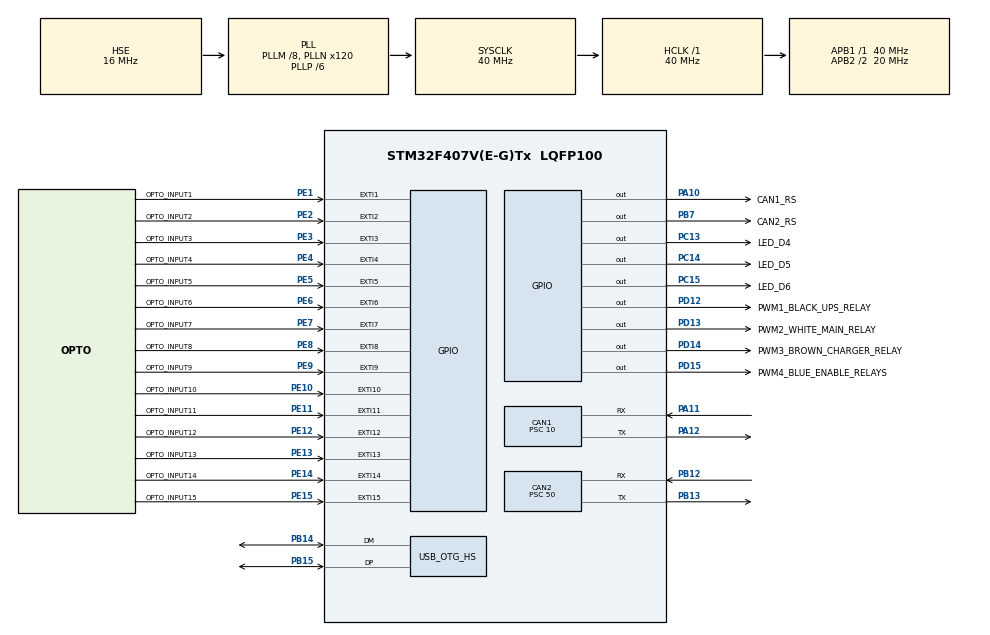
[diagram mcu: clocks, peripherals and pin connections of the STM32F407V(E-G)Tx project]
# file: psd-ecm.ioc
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CAN1.BS1=CAN_BS1_13TQ
CAN1.BS2=CAN_BS2_2TQ
CAN1.CalculateTimeQuantum=250.0
CAN1.Prescaler=10
CAN2.BS1=CAN_BS1_13TQ
CAN2.BS2=CAN_BS2_2TQ
CAN2.CalculateTimeQuantum=1250.0
CAN2.Mode=CAN_MODE_NORMAL
CAN2.Prescaler=50
Mcu.Family=STM32F4
Mcu.Name=STM32F407V(E-G)Tx
Mcu.Package=LQFP100
NVIC.CAN1_RX0_IRQn=true\:3\:0\:true\:false\:true\:true\:true
NVIC.CAN1_RX1_IRQn=true\:3\:0\:true\:false\:true\:true\:true
NVIC.CAN1_TX_IRQn=true\:0\:0\:true\:false\:true\:true\:true
NVIC.CAN2_RX0_IRQn=true\:0\:0\:false\:false\:true\:true\:true
NVIC.CAN2_RX1_IRQn=true\:0\:0\:false\:false\:true\:true\:true
NVIC.CAN2_TX_IRQn=true\:2\:0\:true\:false\:true\:true\:true
NVIC.EXTI15_10_IRQn=true\:2\:0\:true\:false\:true\:true\:true
NVIC.EXTI1_IRQn=true\:2\:0\:true\:false\:true\:true\:true
NVIC.EXTI2_IRQn=true\:2\:0\:true\:false\:true\:true\:true
NVIC.EXTI3_IRQn=true\:2\:0\:true\:false\:true\:true\:true
NVIC.EXTI4_IRQn=true\:2\:0\:true\:false\:true\:true\:true
NVIC.EXTI9_5_IRQn=true\:2\:0\:true\:false\:true\:true\:true
NVIC.OTG_HS_IRQn=true\:0\:0\:false\:false\:true\:false\:true
NVIC.PriorityGroup=NVIC_PRIORITYGROUP_4
NVIC.TIM1_UP_TIM10_IRQn=true\:1\:0\:true\:false\:true\:true\:true
PA10.GPIO_Label=CAN1_RS
PA10.GPIO_PuPd=GPIO_PULLDOWN
PA10.Signal=GPIO_Output
PA11.Mode=Master
PA11.Signal=CAN1_RX
PA12.Mode=Master
PA12.Signal=CAN1_TX
PA13.Mode=Serial_Wire
PA13.Signal=SYS_JTMS-SWDIO
PA14.Mode=Serial_Wire
PA14.Signal=SYS_JTCK-SWCLK
PB12.Mode=Slave
PB12.Signal=CAN2_RX
PB13.Mode=Slave
PB13.Signal=CAN2_TX
PB14.Mode=Device_Only_FS
PB14.Signal=USB_OTG_HS_DM
PB15.Mode=Device_Only_FS
PB15.Signal=USB_OTG_HS_DP
PB7.GPIO_Label=CAN2_RS
PB7.GPIO_PuPd=GPIO_PULLDOWN
PB7.Signal=GPIO_Output
PC13-ANTI_TAMP.GPIO_Label=LED_D4
PC13-ANTI_TAMP.Signal=GPIO_Output
PC14-OSC32_IN.GPIO_Label=LED_D5
PC14-OSC32_IN.Signal=GPIO_Output
PC15-OSC32_OUT.GPIO_Label=LED_D6
PC15-OSC32_OUT.Signal=GPIO_Output
PD12.GPIO_Label=PWM1_BLACK_UPS_RELAY
PD12.Signal=GPIO_Output
PD13.GPIO_Label=PWM2_WHITE_MAIN_RELAY
PD13.Signal=GPIO_Output
PD14.GPIO_Label=PWM3_BROWN_CHARGER_RELAY
PD14.Signal=GPIO_Output
PD15.GPIO_Label=PWM4_BLUE_ENABLE_RELAYS
PD15.Signal=GPIO_Output
PE1.GPIO_Label=OPTO_INPUT1
PE1.GPIO_ModeDefaultEXTI=GPIO_MODE_IT_RISING_FALLING
PE1.Signal=GPXTI1
PE10.GPIO_Label=OPTO_INPUT10
PE10.GPIO_ModeDefaultEXTI=GPIO_MODE_IT_RISING_FALLING
PE10.Signal=GPXTI10
PE11.GPIO_Label=OPTO_INPUT11
PE11.Signal=GPXTI11
PE12.GPIO_Label=OPTO_INPUT12
PE12.Signal=GPXTI12
PE13.GPIO_Label=OPTO_INPUT13
PE13.Signal=GPXTI13
PE14.GPIO_Label=OPTO_INPUT14
PE14.Signal=GPXTI14
PE15.GPIO_Label=OPTO_INPUT15
PE15.Signal=GPXTI15
PE2.GPIO_Label=OPTO_INPUT2
PE2.GPIO_ModeDefaultEXTI=GPIO_MODE_IT_RISING_FALLING
PE2.Signal=GPXTI2
PE3.GPIO_Label=OPTO_INPUT3
PE3.GPIO_ModeDefaultEXTI=GPIO_MODE_IT_RISING_FALLING
PE3.Signal=GPXTI3
PE4.GPIO_Label=OPTO_INPUT4
PE4.GPIO_ModeDefaultEXTI=GPIO_MODE_IT_RISING_FALLING
PE4.Signal=GPXTI4
PE5.GPIO_Label=OPTO_INPUT5
PE5.GPIO_ModeDefaultEXTI=GPIO_MODE_IT_RISING_FALLING
PE5.Signal=GPXTI5
PE6.GPIO_Label=OPTO_INPUT6
PE6.GPIO_ModeDefaultEXTI=GPIO_MODE_IT_RISING_FALLING
PE6.Signal=GPXTI6
PE7.GPIO_Label=OPTO_INPUT7
PE7.GPIO_ModeDefaultEXTI=GPIO_MODE_IT_RISING_FALLING
PE7.GPIO_PuPd=GPIO_NOPULL
PE7.Signal=GPXTI7
PE8.GPIO_Label=OPTO_INPUT8
PE8.GPIO_ModeDefaultEXTI=GPIO_MODE_IT_RISING_FALLING
PE8.Signal=GPXTI8
PE9.GPIO_Label=OPTO_INPUT9
PE9.GPIO_ModeDefaultEXTI=GPIO_MODE_IT_RISING_FALLING
PE9.Signal=GPXTI9
PH0-OSC_IN.Mode=HSE-External-Oscillator
PH0-OSC_IN.Signal=RCC_OSC_IN
PH1-OSC_OUT.Mode=HSE-External-Oscillator
PH1-OSC_OUT.Signal=RCC_OSC_OUT
ProjectManager.HeapSize=0x2000
ProjectManager.StackSize=0x4000
ProjectManager.TargetToolchain=STM32CubeIDE
RCC.48MHZClocksFreq_Value=48000000
RCC.AHBFreq_Value=40000000
RCC.APB1Freq_Value=40000000
RCC.APB1TimFreq_Value=40000000
RCC.APB2CLKDivider=RCC_HCLK_DIV2
RCC.APB2Freq_Value=20000000
RCC.APB2TimFreq_Value=40000000
RCC.CortexFreq_Value=40000000
RCC.HCLKFreq_Value=40000000
RCC.HSE_VALUE=16000000
RCC.HSI_VALUE=16000000
RCC.LSE_VALUE=32768
RCC.PLLM=8
RCC.PLLN=120
RCC.PLLP=RCC_PLLP_DIV6
RCC.PLLQ=5
RCC.SYSCLKFreq_VALUE=40000000
RCC.SYSCLKSource=RCC_SYSCLKSOURCE_PLLCLK
RCC.VCOOutputFreq_Value=240000000
TIM10.Period=7999
TIM10.Prescaler=4999
USB_DEVICE.APP_RX_DATA_SIZE-CDC_HS=40
USB_DEVICE.APP_TX_DATA_SIZE-CDC_HS=40
USB_DEVICE.CLASS_NAME_HS=CDC
USB_DEVICE.MANUFACTURER_STRING-CDC_HS=PUTSolarDynamics
USB_DEVICE.PRODUCT_STRING_CDC_HS=PsdEcmComPort
USB_DEVICE.USBD_DEBUG_LEVEL-CDC_HS=3
USB_DEVICE.VirtualMode-CDC_HS=Cdc
USB_DEVICE.VirtualModeHS=Cdc_HS
USB_OTG_HS.Sof_enable-Device_Only_FS=DISABLE
USB_OTG_HS.VirtualMode-Device_Only_FS=Device_Only_FS
USB_OTG_HS.dma_enable-Device_Only_FS=DISABLE
VP_TIM10_VS_ClockSourceINT.Mode=Enable_Timer
VP_USB_DEVICE_VS_USB_DEVICE_CDC_HS.Mode=CDC_HS
board=custom

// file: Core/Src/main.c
/* USER CODE BEGIN Header */
/**
 ******************************************************************************
 * @file           : main.c
 * @brief          : ECM Module software
 * @author		   : Szymon Kacperek
 * @mail           : szymonkacperek96@gmail.com
 * @date		   : 14/08/2020
 ******************************************************************************
 * Code created by me is signed in longer * arrays. Naming is adapted to Google C++ Style Guide.
 *
 ******************************************************************************
 * NOTES
 * @ 24/11/2020 Perspectives to develop:
 * - [x] clear every message after being sent in order to CAN data sent over USB be clear;
 * - [ ] create a ENUM type which would return CAN peripherial state after calling CAN functions;
 * - [ ] allocate memory dynamically in order to build usb data frames;
 * - [ ] sent usb data in 200-elements array with specified time interval e.g. 30 or 60 Hz;
 *
 *
 *
 *
 *
 *
 ******************************************************************************
 */
/* USER CODE END Header */
#include "main.h"
#include "can.h"
#include "tim.h"
#include "usb_device.h"
#include "gpio.h"

/* USER CODE BEGIN Includes */

/************************************************************************************************
 PRIVATE INCLUDES
 ************************************************************************************************/
#include "canopen_object_dict.h"
#include "usbd_cdc_if.h"

/* USER CODE END Includes */

/* USER CODE BEGIN PV */
uint16_t charging_voltage = 588; // set to 600 gives 60 V[Onepack], if set to 1200 gives 120 V[two packs]
uint16_t charging_current = 180; // set to 180 gives 18 A, up to about 28 A
/* USER CODE END PV */

void SystemClock_Config(void);

/* USER CODE BEGIN 0 */

void sendZeroes()
{
	UsbTransferDataByte(0, 0, 0, 0, 0, 0, 0, 0, 0);
	HAL_Delay(100);
	UsbTransferDataByte(0, 0, 0, 0, 0, 0, 0, 0, 0);
	HAL_Delay(100);
	UsbTransferDataByte(0, 0, 0, 0, 0, 0, 0, 0, 0);
	HAL_Delay(100);
	UsbTransferDataByte(0, 0, 0, 0, 0, 0, 0, 0, 0);
	HAL_Delay(100);
	UsbTransferDataByte(0, 0, 0, 0, 0, 0, 0, 0, 0);
	HAL_Delay(100);
	UsbTransferDataByte(0, 0, 0, 0, 0, 0, 0, 0, 0);
	HAL_Delay(100);
	UsbTransferDataByte(0, 0, 0, 0, 0, 0, 0, 0, 0);
	HAL_Delay(100);
	UsbTransferDataByte(0, 0, 0, 0, 0, 0, 0, 0, 0);
	HAL_Delay(100);
	UsbTransferDataByte(0, 0, 0, 0, 0, 0, 0, 0, 0);
	HAL_Delay(100);
	UsbTransferDataByte(0, 0, 0, 0, 0, 0, 0, 0, 0);
	HAL_Delay(2);

}
/************************************************************************************************
 PRIVATE VARIABLES
 ************************************************************************************************/

/* USER CODE END 0 */

int main(void)
{

  /* MCU Configuration--------------------------------------------------------*/

  /* Reset of all peripherals, Initializes the Flash interface and the Systick. */
  HAL_Init();

  /* Configure the system clock */
  SystemClock_Config();

  /* Initialize all configured peripherals */
  MX_GPIO_Init();
  MX_CAN1_Init();
  MX_CAN2_Init();
  MX_TIM10_Init();
  MX_USB_DEVICE_Init();
  /* USER CODE BEGIN 2 */

	/************************************************************************************************
	 CAN PERIPHERIAL AND ITS COMPONENTS
	 ************************************************************************************************/
	CanopenObjectDictInit();

	CanConfigFilter(CAN_HIGH_SPEED, 1);
	CanInit(CAN_HIGH_SPEED);

	CanConfigFilter(CAN_LOW_SPEED, 0);
	CanInit(CAN_LOW_SPEED);
	InitCharger(charging_voltage, charging_current);

	HAL_TIM_Base_Start_IT(&htim10);

  /* USER CODE END 2 */

  /* Infinite loop */
  /* USER CODE BEGIN WHILE */
	setError(false);
	setCharging(true);
	setHighVoltage(false);
	while (1) {

//		SendAllFramesForDashboard();
//		sendZeroes();
//		UsbTransferDataByte(0x581, 0, 2, 1, 0, 0, 0, 0, 0);
//		HAL_Delay(10);
//		sendZeroes();
//		UsbTransferDataByte(0x581, 0, 2, 0, 0, 0, 0, 0, 0);
//		HAL_Delay(100);
		//ChargingStateModule();
//		CanSendExtendedIdMessage(hcan1, &can_frame_template, 0x1806E5F4, 8,
//				0x02, 0x6C, 0, 0xB4, 0, 0, 0, 0);
//
//		CanClearRxDataFrame(&can_rx_frame_template);
//
//		HAL_Delay(999);
		TCChargeCommand(&can_frame_template);
		HAL_Delay(500);

    /* USER CODE END WHILE */

	}
}

void SystemClock_Config(void)
{
  RCC_OscInitTypeDef RCC_OscInitStruct = {0};
  RCC_ClkInitTypeDef RCC_ClkInitStruct = {0};

  /** Configure the main internal regulator output voltage
  */
  __HAL_RCC_PWR_CLK_ENABLE();
  __HAL_PWR_VOLTAGESCALING_CONFIG(PWR_REGULATOR_VOLTAGE_SCALE1);
  /** Initializes the RCC Oscillators according to the specified parameters
  * in the RCC_OscInitTypeDef structure.
  */
  RCC_OscInitStruct.OscillatorType = RCC_OSCILLATORTYPE_HSE;
  RCC_OscInitStruct.HSEState = RCC_HSE_ON;
  RCC_OscInitStruct.PLL.PLLState = RCC_PLL_ON;
  RCC_OscInitStruct.PLL.PLLSource = RCC_PLLSOURCE_HSE;
  RCC_OscInitStruct.PLL.PLLM = 8;
  RCC_OscInitStruct.PLL.PLLN = 120;
  RCC_OscInitStruct.PLL.PLLP = RCC_PLLP_DIV6;
  RCC_OscInitStruct.PLL.PLLQ = 5;
  if (HAL_RCC_OscConfig(&RCC_OscInitStruct) != HAL_OK)
  {
    Error_Handler();
  }
  /** Initializes the CPU, AHB and APB buses clocks
  */
  RCC_ClkInitStruct.ClockType = RCC_CLOCKTYPE_HCLK|RCC_CLOCKTYPE_SYSCLK
                              |RCC_CLOCKTYPE_PCLK1|RCC_CLOCKTYPE_PCLK2;
  RCC_ClkInitStruct.SYSCLKSource = RCC_SYSCLKSOURCE_PLLCLK;
  RCC_ClkInitStruct.AHBCLKDivider = RCC_SYSCLK_DIV1;
  RCC_ClkInitStruct.APB1CLKDivider = RCC_HCLK_DIV1;
  RCC_ClkInitStruct.APB2CLKDivider = RCC_HCLK_DIV2;

  if (HAL_RCC_ClockConfig(&RCC_ClkInitStruct, FLASH_LATENCY_1) != HAL_OK)
  {
    Error_Handler();
  }
}

/* USER CODE BEGIN 4 */
void SendAllFramesForDashboard()
	{

		UsbTransferDataByte(0x581, 0x03, 0x01, 0x0, 0x0, 0x0, 0x0, 0x0, 0x0);
		HAL_Delay(100);

		UsbTransferDataByte(0x581, 0x01, 0x01, 0x0, 0x0, 0x0, 0x0, 0x0, 0x0);
		HAL_Delay(100);

		UsbTransferDataByte(0x581, 0x02, 0x01, 0x0, 0x0, 0x0, 0x0, 0x0, 0x0);
		HAL_Delay(100);

		UsbTransferDataByte(0x87, 0x01, 0x00, 0x00, 0x01, 0x01, 0x00, 0x00, 0x00);
		HAL_Delay(100);

		UsbTransferDataByte(0x85, 0x01, 0x00, 0x00, 0x00, 0x00, 0x00, 0x00, 0x00);
		HAL_Delay(100);

		UsbTransferDataByte(0x290, 0x0F, 0x0F, 0x0F, 0x0F, 0x0F, 0x0F, 0x0F, 0x0F);
		HAL_Delay(100);

		UsbTransferDataByte(0x185, 0x0F, 0x0F, 0x0F, 0x0F, 0x0F, 0x0F, 0x0F,
				0x0F);
		HAL_Delay(100);

		UsbTransferDataByte(0X186, 0x0F, 0x0F, 0x0F, 0x0F, 0x0F, 0x0F, 0x0F,
				0x0F);
		HAL_Delay(100);

		UsbTransferDataByte(0x187, 0x0F, 0x0F, 0x0F, 0x0F, 0x0F, 0x0F, 0x0F,
				0x0F);
		HAL_Delay(100);

		UsbTransferDataByte(0x188, 0x0F, 0x0F, 0x0F, 0x0F, 0x0F, 0x0F, 0x0F,
				0x0F);
		HAL_Delay(100);

		UsbTransferDataByte(0x189, 0x0F, 0x0F, 0x0F, 0x1F, 0x0F, 0x1F, 0x0F,
				0x0F);
		HAL_Delay(100);

		UsbTransferDataByte(0x18A, 0x0F, 0x1F, 0x0F, 0x0F, 0x0F, 0x0F, 0x0F,
				0x0F);
		HAL_Delay(100);

		UsbTransferDataByte(0x18B, 0x0F, 0x0F, 0x3f, 0x0F, 0x0F, 0x0F, 0x0F,
				0x0F);
		HAL_Delay(100);

		UsbTransferDataByte(0x395, 0x0F, 0x0F, 0x0F, 0x0F, 0x0F, 0x0F, 0x0F,
				0x0F);
		HAL_Delay(100);

		UsbTransferDataByte(0x55, 0x0F, 0x0F, 0x0F, 0x0, 0x0, 0x00, 0x00, 0x00);
		HAL_Delay(100);

		UsbTransferDataByte(0x90, 0x03, 0, 0x00, 0x00, 0x00, 0x00, 0x00,
				0x0);
		HAL_Delay(100);
	}

void SendAllFramesForDashboardCharging()
	{
		UsbTransferDataByte(0x87, 0x01, 0x00, 0x00, 0x01, 0x01, 0x00, 0x00, 0x00);
		HAL_Delay(100);

		UsbTransferDataByte(0x185, 0x0F, 0x0F, 0x0F, 0x0F, 0x0F, 0x0F, 0x0F,
				0x0F);
		HAL_Delay(100);

		UsbTransferDataByte(0X186, 0x0F, 0x0F, 0x0F, 0x0F, 0x0F, 0x0F, 0x0F,
				0x0F);
		HAL_Delay(100);

		UsbTransferDataByte(0x187, 0x0F, 0x0F, 0x0F, 0x0F, 0x0F, 0x0F, 0x0F,
				0x0F);
		HAL_Delay(100);

		UsbTransferDataByte(0x188, 0x0F, 0x0F, 0x0F, 0x0F, 0x0F, 0x0F, 0x0F,
				0x0F);
		HAL_Delay(100);

		UsbTransferDataByte(0x189, 0x0F, 0x0F, 0x0F, 0x0F, 0x0F, 0x0F, 0x0F,
				0x0F);
		HAL_Delay(100);

		UsbTransferDataByte(0x18A, 0x0F, 0x0F, 0x0F, 0x0F, 0x0F, 0x0F, 0x0F,
				0x0F);
		HAL_Delay(100);

		UsbTransferDataByte(0x18B, 0x0F, 0x0F, 0x0F, 0x0F, 0x0F, 0x0F, 0x0F,
				0x0F);
		HAL_Delay(100);

		UsbTransferDataByte(0x55, 0x0F, 0x0F, 0x0F, 0x0, 0x0, 0x00, 0x00, 0x00);
		HAL_Delay(100);}

void HAL_TIM_PeriodElapsedCallback(TIM_HandleTypeDef *htim){
	if(htim->Instance == TIM10){ // 1Hz/1s timer
		HAL_GPIO_TogglePin(LED_D4_GPIO_Port, LED_D4_Pin);
		ChargingStateModule();
	}
}

/* USER CODE END 4 */

void Error_Handler(void)
{
}

/************************ (C) COPYRIGHT STMicroelectronics *****END OF FILE****/
